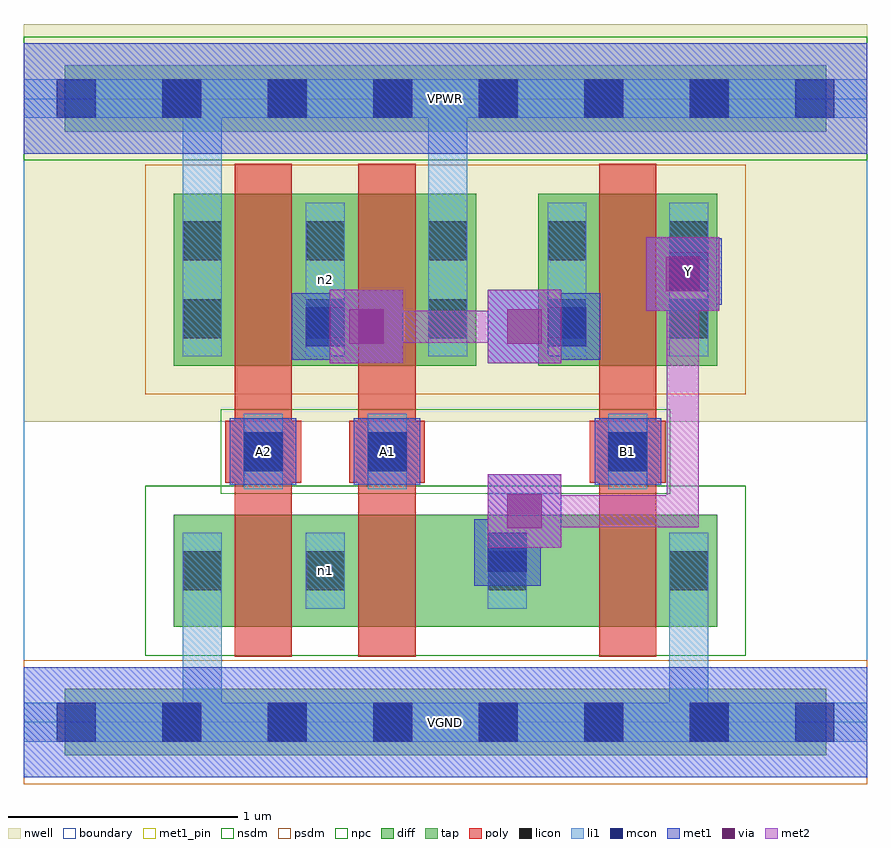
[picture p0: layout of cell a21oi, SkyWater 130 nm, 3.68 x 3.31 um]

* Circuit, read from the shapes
.subckt a21oi A1 A2 B1 VGND VPWR Y n1 n2
XM1 n1 A2 VGND VGND sky130_fd_pr__nfet_01v8 w=0.49 l=0.25
XM2 Y A1 n1 VGND sky130_fd_pr__nfet_01v8 w=0.49 l=0.25
XM3 VGND B1 Y VGND sky130_fd_pr__nfet_01v8 w=0.49 l=0.25
XM4 n2 A2 VPWR VPWR sky130_fd_pr__pfet_01v8 w=0.75 l=0.25
XM5 VPWR A1 n2 VPWR sky130_fd_pr__pfet_01v8 w=0.75 l=0.25
XM6 Y B1 n2 VPWR sky130_fd_pr__pfet_01v8 w=0.75 l=0.25
.ends

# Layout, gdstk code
import gdstk
lib = gdstk.Library(unit=1e-6, precision=1e-09)
def R(c, l, rs):  # rectangles x0, y0, x1, y1
    for r in rs: c.add(gdstk.rectangle(r[:2], r[2:], *l))
def A(c, l, x, y, w, h, nx, ny, dx, dy):  # array of equal rectangles
    R(c, l, [(x+i*dx, y+j*dy, x+i*dx+w, y+j*dy+h) for i in range(nx) for j in range(ny)])
nwell = (64, 20)
diff = (65, 20)
tap = (65, 44)
poly = (66, 20)
licon = (66, 44)
li1 = (67, 20)
mcon = (67, 44)
met1_pin = (68, 16)
met1 = (68, 20)
via = (68, 44)
met2 = (69, 20)
nsdm = (93, 44)
psdm = (94, 20)
npc = (95, 20)
boundary = (235, 4)

a21oi = lib.new_cell('a21oi')
R(a21oi, nwell, [(0,1.31,3.68,3.045)])
R(a21oi, diff, [(0.655,0.415,3.025,0.905), (0.655,1.555,1.975,2.305), (2.245,1.555,3.025,2.305)])
R(a21oi, tap, [(0.18,-0.145,3.5,0.145), (0.18,2.575,3.5,2.865)])
R(a21oi, poly, [(0.92,0.285,1.17,2.435), (1.46,0.285,1.71,2.435), (2.51,0.285,2.76,2.435), (0.88,1.045,1.21,1.315), (1.42,1.045,1.75,1.315), (2.47,1.045,2.8,1.315)])
A(a21oi, licon, 0.605, -0.085, 0.17, 0.17, 6, 2, 0.46, 2.72)
A(a21oi, licon, 0.695, 1.675, 0.17, 0.17, 3, 2, 0.535, 0.34)
R(a21oi, licon, [(0.695,0.575,0.865,0.745), (1.23,0.575,1.4,0.745), (2.025,0.575,2.195,0.745), (2.815,0.575,2.985,0.745), (0.96,1.095,1.13,1.265), (1.5,1.095,1.67,1.265), (2.55,1.095,2.72,1.265), (2.285,1.675,2.455,1.845), (2.815,1.675,2.985,1.845), (2.285,2.015,2.455,2.185), (2.815,2.015,2.985,2.185)])
A(a21oi, li1, 0.695, 1.595, 0.17, 0.67, 3, 1, 0.535, 0)
R(a21oi, li1, [(0,-0.085,3.68,0.085), (0.695,-0.085,0.865,0.825), (2.815,-0.085,2.985,0.825), (0.695,0.495,0.865,0.825), (1.23,0.495,1.4,0.825), (2.025,0.495,2.195,0.825), (2.815,0.495,2.985,0.825), (0.96,1.015,1.13,1.345), (1.5,1.015,1.67,1.345), (2.55,1.015,2.72,1.345), (0.695,1.595,0.865,2.805), (1.765,1.595,1.935,2.805), (2.285,1.595,2.455,2.265), (2.815,1.595,2.985,2.265), (0,2.635,3.68,2.805)])
A(a21oi, mcon, 0.145, -0.085, 0.17, 0.17, 8, 2, 0.46, 2.72)
R(a21oi, mcon, [(2.025,0.655,2.195,0.825), (0.96,1.095,1.13,1.265), (1.5,1.095,1.67,1.265), (2.55,1.095,2.72,1.265), (1.23,1.64,1.4,1.81), (2.285,1.64,2.455,1.81), (2.815,1.88,2.985,2.05)])
R(a21oi, met1_pin, [(0,-0.24,3.68,0.24), (0.9,1.035,1.19,1.325), (1.44,1.035,1.73,1.325), (2.49,1.035,2.78,1.325), (2.755,1.82,3.045,2.11), (0,2.48,3.68,2.96)])
R(a21oi, met1, [(0,-0.24,3.68,0.24), (1.965,0.595,2.255,0.885), (2.04,0.67,2.255,0.81), (2.115,0.67,2.255,0.99), (2.025,0.76,2.345,1.08), (0.9,1.035,1.19,1.325), (1.44,1.035,1.73,1.325), (2.49,1.035,2.78,1.325), (1.335,1.565,1.655,1.885), (2.025,1.565,2.345,1.885), (1.17,1.58,1.46,1.87), (2.225,1.58,2.515,1.87), (1.245,1.655,1.565,1.795), (2.115,1.655,2.44,1.795), (2.715,1.795,3.035,2.115), (2.755,1.82,3.045,2.11), (2.805,1.885,2.945,2.025), (0,2.48,3.68,2.96)])
R(a21oi, via, [(2.11,0.845,2.26,0.995), (1.42,1.65,1.57,1.8), (2.11,1.65,2.26,1.8), (2.8,1.88,2.95,2.03)])
R(a21oi, met2, [(2.025,0.76,2.345,1.08), (2.115,0.85,2.945,0.99), (2.805,0.85,2.945,2.025), (1.335,1.565,1.655,1.885), (2.025,1.565,2.345,1.885), (1.425,1.655,2.255,1.795), (2.715,1.795,3.035,2.115)])
R(a21oi, nsdm, [(0.53,0.29,3.15,1.03), (0,2.45,3.68,2.99)])
R(a21oi, psdm, [(0,-0.27,3.68,0.27), (0.53,1.43,3.15,2.43)])
R(a21oi, npc, [(0.86,0.995,2.82,1.365)])
R(a21oi, boundary, [(0,0,3.68,2.72)])
a21oi.add(gdstk.Label('n1', (1.315,0.66), layer=67, texttype=5))
a21oi.add(gdstk.Label('n2', (1.315,1.93), layer=67, texttype=5))
a21oi.add(gdstk.Label('A1', (1.585,1.18), layer=68, texttype=5))
a21oi.add(gdstk.Label('A2', (1.045,1.18), layer=68, texttype=5))
a21oi.add(gdstk.Label('B1', (2.635,1.18), layer=68, texttype=5))
a21oi.add(gdstk.Label('Y', (2.9,1.965), layer=68, texttype=5))
a21oi.add(gdstk.Label('VPWR', (1.84,2.72), layer=68, texttype=5))
a21oi.add(gdstk.Label('VGND', (1.84,0), layer=68, texttype=5))
a21oi.add(gdstk.Label('A1', (1.585,1.18), layer=68, texttype=16))
a21oi.add(gdstk.Label('A2', (1.045,1.18), layer=68, texttype=16))
a21oi.add(gdstk.Label('B1', (2.635,1.18), layer=68, texttype=16))
a21oi.add(gdstk.Label('Y', (2.9,1.965), layer=68, texttype=16))
a21oi.add(gdstk.Label('VPWR', (1.84,2.72), layer=68, texttype=16))
a21oi.add(gdstk.Label('VGND', (1.84,0), layer=68, texttype=16))

lib.write_gds('a21oi.gds')
